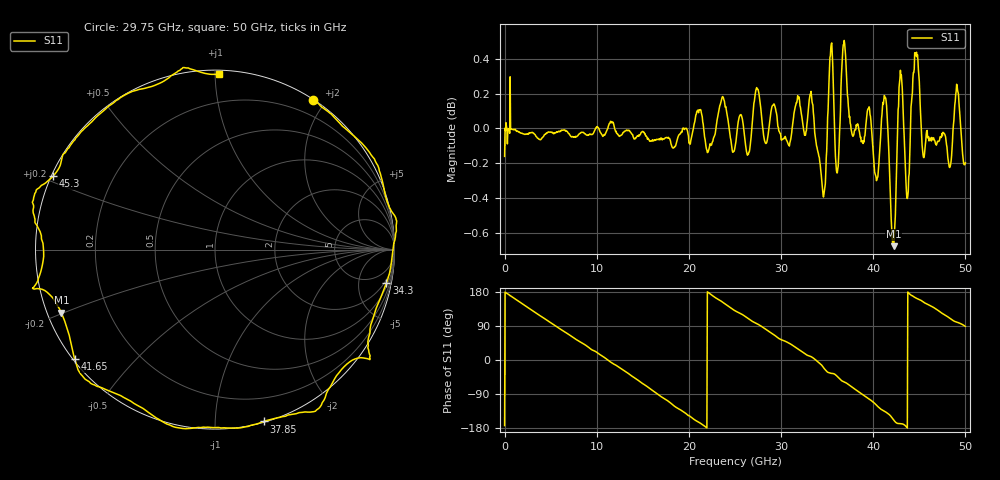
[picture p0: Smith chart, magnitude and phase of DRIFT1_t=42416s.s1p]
!Created with skrf (http://scikit-rf.org).
# Hz S RI R 50.0
!freq ReS11 ImS11
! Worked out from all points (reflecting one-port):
!   1001 points, 300 kHz to 50 GHz, reference 50 ohm
!   lowest |S11| = -0.7 dB at 42.2 GHz (marker M1), VSWR 25.72, Z = 2.02 - j9.83 ohm
!   phase of S11 starts at -173 deg and turns -818 deg over the sweep
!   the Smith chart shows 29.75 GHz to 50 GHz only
!   S11 on the Smith chart (normalised r, x): 29.75 GHz: 0.00, +1.85; 34.3 GHz: 1, -10; 37.85 GHz: 0.01, -1.32; 41.65 GHz: 0.00, -0.34; 45.3 GHz: 0.01, +0.22; 50 GHz: 0.02, +1.02
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300000  -0.9744 -0.1193
1.450291e9  -0.9124 0.4044
3.25028e9  -0.5924 0.8009
6.250262e9  0.2008 0.9784
9.500243e9  0.8913 0.4445
1.250022e10  0.9322 -0.3486
1.580021e10  0.24 -0.9621
1.74002e10  -0.2214 -0.9686
1.875019e10  -0.5973 -0.7936
2.150017e10  -0.9919 -0.1568
2.345016e10  -0.9292 0.4131
2.500015e10  -0.6343 0.7573
2.740014e10  -0.0975 1.022
2.975012e10  0.5459 0.8361
3.125011e10  0.7848 0.6235
3.31001e10  1.004 0.1826
3.430009e10  0.9551 -0.1852
3.520009e10  0.8578 -0.5728
3.750008e10  0.3756 -0.9306
3.785007e10  0.2718 -0.9575
3.960006e10  -0.2356 -0.9852
4.165005e10  -0.7819 -0.6092
4.220005e10  -0.8561 -0.3508
4.290004e10  -1.01 -0.2189
4.375004e10  -0.9562 0.0112
4.530003e10  -0.9003 0.4098
4.770001e10  -0.4942 0.8655
5e10  0.0218 0.9774
